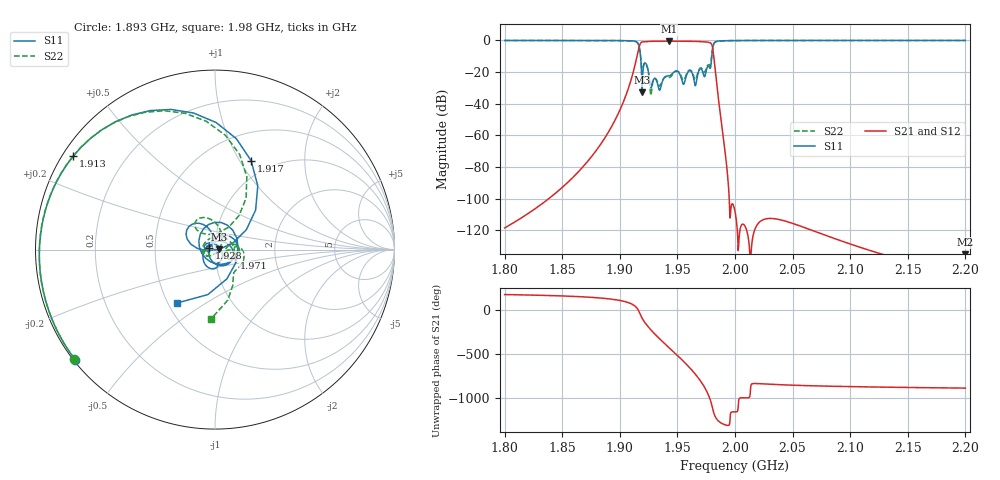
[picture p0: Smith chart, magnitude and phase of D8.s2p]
! Touchstone file exported from HFSS 2023.1.0
!  File:  E:/1.Project/CoxailF/seventhree.aedt
!  Generated:  1:51:28 %x4E0B%x5348  5%x6708 25, 2023
!  Design:  Resonator_out12
!  Project:  seventhree
!  Setup:  Setup1
!  Solution:  Sweep
! Variables:
!  Hin1 = 26mm
!  Hout = 29mm
!  L12 = 14.8mm
!  L13 = 14.75mm
!  L23 = 6.95mm
!  L34 = 12.5mm
!  L45 = 8.8mm
!  L46 = 3.7mm
!  L56 = 8.2mm
!  L67 = 12.5mm
!  L78 = 7.8mm
!  L79 = 12.5mm
!  L89 = 15.3mm
!  Rin = 5mm
!  Rin2 = 4mm
!  Rout = 15mm
!  Rport = 1.15mm
!  Rport2 = 3mm
!  Rportin = 0.5mm
!  d = 3mm
!  d01 = 2.9mm
!  d02 = 3.53mm
!  d03 = 3.66mm
!  d04 = 3.74mm
!  d05 = 3.745mm
!  d06 = 3.74mm
!  d07 = 3.672mm
!  d08 = 3.52mm
!  d09 = 2.92mm
!  d12 = 18mm
!  d12x = 15.5mm
!  d12y = 25mm
!  d23 = 18mm
!  d34 = 30mm
!  hport = 10.4mm
!  hport2 = 10.4mm
!  lport = 12mm
!  lport2 = 1mm
!  lport_2 = 12mm
!  m = 2mm
!  w12 = 12mm
!  w13 = 10mm
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# GHz S MA R 50.000000
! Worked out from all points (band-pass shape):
!   1001 points, 1.8 GHz to 2.2 GHz, reference 50 ohm
!   highest |S21| = -0.46 dB at 1.943 GHz (marker M1); lowest = -148.7 dB at 2.2 GHz (marker M2)
!   |S21| within 3 dB of the highest: 1.917 GHz to 1.98 GHz (63.11 MHz wide, 3.24 % of centre)
!   lowest |S11| = -32.7 dB at 1.919 GHz (marker M3), VSWR 1.05, Z = 52.4 + j0.106 ohm
!   |S11| at or under -10 dB: 1.918 GHz to 1.98 GHz (61.84 MHz wide, 3.17 % of centre)
!   |S22| runs from -34.7 to 0.0 dB; largest |S21 - S12| = 2.2e-11
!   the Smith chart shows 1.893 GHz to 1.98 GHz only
!   S11 on the Smith chart (normalised r, x): 1.893 GHz: 0.00, -0.35; 1.913 GHz: 0.03, +0.30; 1.917 GHz: 0.81, +1.12; 1.928 GHz: 0.93, +0.02; 1.971 GHz: 1.24, -0.12; 1.98 GHz: 0.56, -0.38
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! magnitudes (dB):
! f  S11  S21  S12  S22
! 1.8 GHz  0.0  -118.5  -118.5  0.0
! 1.867 GHz  0.0  -80.8  -80.8  0.0
! 1.893 GHz  -0.1  -54.0  -54.0  -0.1
! 1.913 GHz  -0.5  -16.8  -16.8  -0.5
! 1.917 GHz  -5.4  -3.1  -3.1  -5.2
! 1.919 GHz  -32.7  -1.0  -1.0  -20.6
! 1.923 GHz  -14.8  -0.8  -0.8  -14.8
! 1.928 GHz  -29.0  -0.5  -0.5  -31.6
! 1.934 GHz  -29.8  -0.5  -0.5  -27.8
! 1.943 GHz  -22.4  -0.5  -0.5  -23.5
! 1.95 GHz  -19.3  -0.5  -0.5  -19.4
! 1.955 GHz  -27.7  -0.5  -0.5  -25.1
! 1.961 GHz  -19.1  -0.6  -0.6  -18.7
! 1.966 GHz  -28.7  -0.6  -0.6  -24.9
! 1.971 GHz  -18.6  -0.8  -0.8  -17.7
! 1.98 GHz  -8.7  -3.0  -3.0  -8.3
! 1.983 GHz  -0.8  -21.3  -21.3  -1.0
! 1.992 GHz  -0.2  -76.8  -76.8  -0.2
! 2 GHz  -0.1  -108.0  -108.0  -0.1
! 2.067 GHz  0.0  -120.0  -120.0  0.0
! 2.134 GHz  0.0  -136.4  -136.4  0.0
! 2.2 GHz  0.0  -148.7  -148.7  0.0
